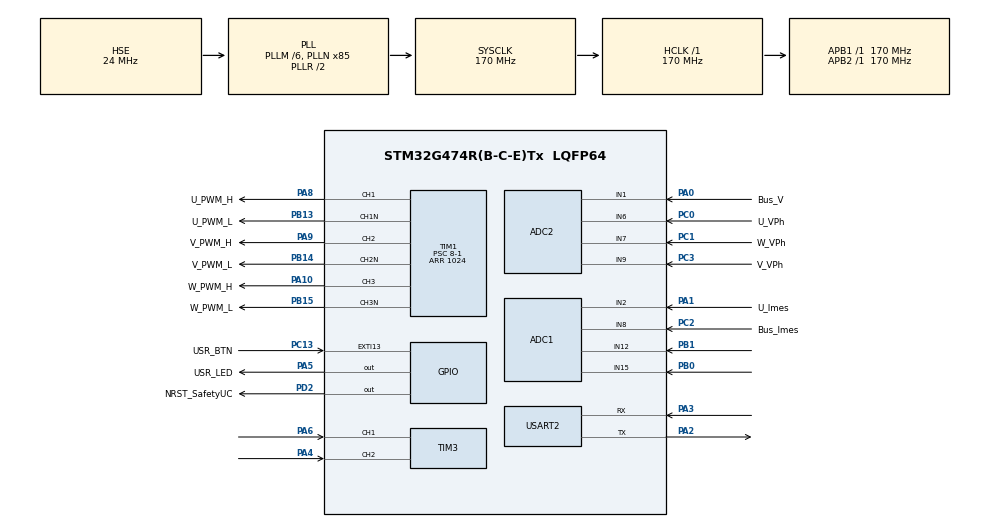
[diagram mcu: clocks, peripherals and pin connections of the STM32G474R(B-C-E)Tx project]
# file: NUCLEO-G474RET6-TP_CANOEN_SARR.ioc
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ADC1.Channel-0\#ChannelRegularConversion=ADC_CHANNEL_2
ADC1.DMAContinuousRequests=ENABLE
ADC1.ExternalTrigConv=ADC_EXTERNALTRIG_T1_TRGO
ADC1.NbrOfConversionFlag=1
ADC1.OffsetNumber-0\#ChannelRegularConversion=ADC_OFFSET_NONE
ADC1.Rank-0\#ChannelRegularConversion=1
ADC1.SamplingTime-0\#ChannelRegularConversion=ADC_SAMPLETIME_92CYCLES_5
ADC1.master=1
ADC2.Channel-0\#ChannelRegularConversion=ADC_CHANNEL_6
ADC2.NbrOfConversionFlag=1
ADC2.OffsetNumber-0\#ChannelRegularConversion=ADC_OFFSET_NONE
ADC2.Rank-0\#ChannelRegularConversion=1
ADC2.SamplingTime-0\#ChannelRegularConversion=ADC_SAMPLETIME_2CYCLES_5
Dma.ADC1.0.Direction=DMA_PERIPH_TO_MEMORY
Dma.ADC1.0.EventEnable=DISABLE
Dma.ADC1.0.Instance=DMA1_Channel2
Dma.ADC1.0.MemDataAlignment=DMA_MDATAALIGN_HALFWORD
Dma.ADC1.0.MemInc=DMA_MINC_ENABLE
Dma.ADC1.0.Mode=DMA_CIRCULAR
Dma.ADC1.0.PeriphDataAlignment=DMA_PDATAALIGN_HALFWORD
Dma.ADC1.0.PeriphInc=DMA_PINC_DISABLE
Dma.ADC1.0.Polarity=HAL_DMAMUX_REQ_GEN_RISING
Dma.ADC1.0.Priority=DMA_PRIORITY_LOW
Dma.ADC1.0.RequestNumber=1
Dma.ADC1.0.SignalID=NONE
Dma.ADC1.0.SyncEnable=DISABLE
Dma.ADC1.0.SyncPolarity=HAL_DMAMUX_SYNC_NO_EVENT
Dma.ADC1.0.SyncRequestNumber=1
Dma.ADC1.0.SyncSignalID=NONE
Dma.Request0=ADC1
Mcu.Family=STM32G4
Mcu.Name=STM32G474R(B-C-E)Tx
Mcu.Package=LQFP64
NVIC.DMA1_Channel2_IRQn=true\:0\:0\:false\:false\:true\:false\:true\:true
NVIC.EXTI15_10_IRQn=true\:0\:0\:false\:false\:true\:true\:true\:true
NVIC.PriorityGroup=NVIC_PRIORITYGROUP_4
NVIC.TIM6_DAC_IRQn=true\:15\:0\:false\:false\:true\:false\:true\:true
NVIC.TimeBase=TIM6_DAC_IRQn
NVIC.TimeBaseIP=TIM6
NVIC.USART2_IRQn=true\:0\:0\:false\:false\:true\:true\:true\:true
PA0.GPIO_Label=Bus_V
PA0.Mode=IN1-Single-Ended
PA0.Signal=ADC2_IN1
PA1.GPIO_Label=U_Imes
PA1.Mode=IN2-Single-Ended
PA1.Signal=ADC1_IN2
PA10.GPIO_Label=W_PWM_H
PA10.Signal=S_TIM1_CH3
PA13.GPIO_Label=T_SWDIO
PA13.Mode=Trace_Asynchronous_SW
PA13.Signal=SYS_JTMS-SWDIO
PA14.GPIO_Label=T_SWCLK
PA14.Mode=Trace_Asynchronous_SW
PA14.Signal=SYS_JTCK-SWCLK
PA2.Mode=Asynchronous
PA2.Signal=USART2_TX
PA3.Mode=Asynchronous
PA3.Signal=USART2_RX
PA4.Signal=S_TIM3_CH2
PA5.GPIO_Label=USR_LED
PA5.Signal=GPIO_Output
PA6.Signal=S_TIM3_CH1
PA8.GPIO_Label=U_PWM_H
PA8.Signal=S_TIM1_CH1
PA9.GPIO_Label=V_PWM_H
PA9.Signal=S_TIM1_CH2
PB0.Mode=IN15-Single-Ended
PB0.Signal=ADC1_IN15
PB1.Mode=IN12-Single-Ended
PB1.Signal=ADC1_IN12
PB13.GPIO_Label=U_PWM_L
PB13.Mode=PWM Generation1 CH1 CH1N
PB13.Signal=TIM1_CH1N
PB14.GPIO_Label=V_PWM_L
PB14.Mode=PWM Generation2 CH2 CH2N
PB14.Signal=TIM1_CH2N
PB15.GPIO_Label=W_PWM_L
PB15.Mode=PWM Generation3 CH3 CH3N
PB15.Signal=TIM1_CH3N
PB3.GPIO_Label=T_SWO
PB3.Mode=Trace_Asynchronous_SW
PB3.Signal=SYS_JTDO-SWO
PC0.GPIO_Label=U_VPh
PC0.Mode=IN6-Single-Ended
PC0.Signal=ADC2_IN6
PC1.GPIO_Label=W_VPh
PC1.Mode=IN7-Single-Ended
PC1.Signal=ADC2_IN7
PC10.Signal=USART3_TX
PC11.Signal=USART3_RX
PC13.GPIO_Label=USR_BTN
PC13.Signal=GPXTI13
PC14-OSC32_IN.Mode=LSE-External-Oscillator
PC14-OSC32_IN.Signal=RCC_OSC32_IN
PC15-OSC32_OUT.Mode=LSE-External-Oscillator
PC15-OSC32_OUT.Signal=RCC_OSC32_OUT
PC2.GPIO_Label=Bus_Imes
PC2.Mode=IN8-Single-Ended
PC2.Signal=ADC1_IN8
PC3.GPIO_Label=V_VPh
PC3.Mode=IN9-Single-Ended
PC3.Signal=ADC2_IN9
PC8.Signal=S_TIM3_CH3
PD2.GPIO_Label=NRST_SafetyUC
PD2.Signal=GPIO_Output
PF0-OSC_IN.Mode=HSE-External-Oscillator
PF0-OSC_IN.Signal=RCC_OSC_IN
PF1-OSC_OUT.Mode=HSE-External-Oscillator
PF1-OSC_OUT.Signal=RCC_OSC_OUT
ProjectManager.HeapSize=0x200
ProjectManager.StackSize=0x400
ProjectManager.TargetToolchain=STM32CubeIDE
RCC.ADC12Freq_Value=170000000
RCC.ADC345Freq_Value=170000000
RCC.AHBFreq_Value=170000000
RCC.APB1Freq_Value=170000000
RCC.APB1TimFreq_Value=170000000
RCC.APB2Freq_Value=170000000
RCC.APB2TimFreq_Value=170000000
RCC.CortexFreq_Value=170000000
RCC.EXTERNAL_CLOCK_VALUE=12288000
RCC.HCLKFreq_Value=170000000
RCC.HSE_VALUE=24000000
RCC.HSI48_VALUE=48000000
RCC.HSI_VALUE=16000000
RCC.PLLM=RCC_PLLM_DIV6
RCC.PLLN=85
RCC.PLLSourceVirtual=RCC_PLLSOURCE_HSE
RCC.RTCClockSelection=RCC_RTCCLKSOURCE_LSE
RCC.SYSCLKFreq_VALUE=170000000
RCC.SYSCLKSource=RCC_SYSCLKSOURCE_PLLCLK
RCC.USBFreq_Value=170000000
RCC.VCOOutputFreq_Value=340000000
SH.S_TIM1_CH1.0=TIM1_CH1,PWM Generation1 CH1 CH1N
SH.S_TIM1_CH2.0=TIM1_CH2,PWM Generation2 CH2 CH2N
SH.S_TIM1_CH3.0=TIM1_CH3,PWM Generation3 CH3 CH3N
SH.S_TIM3_CH1.0=TIM3_CH1,Encoder_Interface
SH.S_TIM3_CH2.0=TIM3_CH2,Encoder_Interface
SH.S_TIM3_CH3.0=TIM3_CH3
TIM1.AutoReloadPreload=TIM_AUTORELOAD_PRELOAD_ENABLE
TIM1.Channel-PWM\ Generation1\ CH1\ CH1N=TIM_CHANNEL_1
TIM1.Channel-PWM\ Generation2\ CH2\ CH2N=TIM_CHANNEL_2
TIM1.Channel-PWM\ Generation3\ CH3\ CH3N=TIM_CHANNEL_3
TIM1.CounterMode=TIM_COUNTERMODE_CENTERALIGNED1
TIM1.DeadTime=35
TIM1.DeadTimePreload=ENABLE
TIM1.PeriodNoDither=1024
TIM1.Prescaler=8-1
TIM1.PulseNoDither_1=512
TIM1.PulseNoDither_2=512
TIM1.TIM_MasterOutputTrigger=TIM_TRGO_UPDATE
USART2.VirtualMode-Asynchronous=VM_ASYNC
VP_SYS_VS_DBSignals.Mode=DisableDeadBatterySignals
VP_SYS_VS_tim6.Mode=TIM6
VP_TIM1_VS_ClockSourceINT.Mode=Internal
board=NUCLEO-G474RE

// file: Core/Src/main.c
/* USER CODE BEGIN Header */
/**
 ******************************************************************************
 * @file           : main.c
 * @brief          : Main program body
 ******************************************************************************
 * @attention
 *
 * Copyright (c) 2024 STMicroelectronics.
 * All rights reserved.
 *
 * This software is licensed under terms that can be found in the LICENSE file
 * in the root directory of this software component.
 * If no LICENSE file comes with this software, it is provided AS-IS.
 *
 ******************************************************************************
 */
/* USER CODE END Header */
#include "main.h"
#include "adc.h"
#include "dma.h"
#include "tim.h"
#include "usart.h"
#include "gpio.h"

/* USER CODE BEGIN PD */
#define UART_TX_BUFFER_SIZE 64
#define UART_RX_BUFFER_SIZE 1
#define CMD_BUFFER_SIZE 64
#define MAX_ARGS 9
#define ASCII_ENTER 0x0D
#define MAX_SPEED 1024  // Valeur maximale de la vitesse
#define ADC_BUF_SIZE 8
#define PULSES_PER_REVOLUTION 1000
#define SAMPLE_PERIOD 0.01
/* USER CODE END PD */

/* USER CODE BEGIN PV */

static const uint8_t prompt[]="user@Nucleo-STM32G474>>";
static const uint8_t started[]=
		"\r\n*-----------------------------*"
		"\r\n| Welcome on MCC SHELL |"
		"\r\n*-----------------------------*"
		"\r\n";
//static const uint8_t newline[]="\r\n";
//static const uint8_t cmdNotFound[]="Command not found\r\n";
//static const uint8_t help[] = "Available commands: help, pinout, start, stop, speed\r\n";
//static const uint8_t pinout[] = "Pins used: PA0, PA1, PB3\r\n";
//static const uint8_t powerOn[] = "Power ON\r\n";
//static const uint8_t powerOff[] = "Power OFF\r\n";
//static const uint8_t speed_msg[] = "Speed : \r\n";
//static const uint8_t ADC_msg[] = "Current_value : \r\n";
static uint32_t uartRxReceived;
static uint8_t uartRxBuffer[UART_RX_BUFFER_SIZE];
static uint8_t uartTxBuffer[UART_TX_BUFFER_SIZE];
uint16_t ADC_buffer[ADC_BUF_SIZE];
//char Etat;
char Speed_buf[5];

//uint8_t former_speed = 0;
/* USER CODE END PV */

void SystemClock_Config(void);

int main(void)
{

	/* USER CODE BEGIN 1 */
	char cmdBuffer[CMD_BUFFER_SIZE];
	int idx_cmd;
	char* argv[MAX_ARGS];
	int argc = 0;
	int32_t ch_MCC = 0;
	/* USER CODE END 1 */

	/* MCU Configuration--------------------------------------------------------*/

	/* Reset of all peripherals, Initializes the Flash interface and the Systick. */
	HAL_Init();

	/* Configure the system clock */
	SystemClock_Config();

	/* Initialize all configured peripherals */
	MX_GPIO_Init();
	MX_DMA_Init();
	MX_ADC2_Init();
	MX_ADC1_Init();
	MX_TIM1_Init();
	MX_TIM3_Init();
	MX_USART2_UART_Init();
	/* USER CODE BEGIN 2 */
	//HAL_ADCEx_Calibration_Start(&hadc1, ADC_SINGLE_ENDED);
	//HAL_ADC_PollForConversion(&hadc1, HAL_MAX_DELAY);
	HAL_ADC_Start_DMA(&hadc1, ADC_buffer, ADC_BUF_SIZE); /**< Démarrage de la conversion ADC en mode DMA. */
	HAL_TIM_Base_Start(&htim1); /**< Activation du Timer 1. */

	memset(argv,NULL,MAX_ARGS*sizeof(char*));
	memset(cmdBuffer,NULL,CMD_BUFFER_SIZE*sizeof(char));
	memset(uartRxBuffer,NULL,UART_RX_BUFFER_SIZE*sizeof(char));
	memset(uartTxBuffer,NULL,UART_TX_BUFFER_SIZE*sizeof(char));

	HAL_UART_Receive_IT(&huart2, uartRxBuffer, UART_RX_BUFFER_SIZE);
	HAL_Delay(10);
	HAL_UART_Transmit(&huart2, started, sizeof(started), HAL_MAX_DELAY);
	HAL_UART_Transmit(&huart2, prompt, sizeof(prompt), HAL_MAX_DELAY);

	/* USER CODE END 2 */

	/* Infinite loop */
	/* USER CODE BEGIN WHILE */
	while (1)
	{
		shell(); /**< Gestion des commandes utilisateur via le shell MCC. */
		/* USER CODE END WHILE */

	}
}

void SystemClock_Config(void)
{
	RCC_OscInitTypeDef RCC_OscInitStruct = {0};
	RCC_ClkInitTypeDef RCC_ClkInitStruct = {0};

	/** Configure the main internal regulator output voltage
	 */
	HAL_PWREx_ControlVoltageScaling(PWR_REGULATOR_VOLTAGE_SCALE1_BOOST);

	/** Initializes the RCC Oscillators according to the specified parameters
	 * in the RCC_OscInitTypeDef structure.
	 */
	RCC_OscInitStruct.OscillatorType = RCC_OSCILLATORTYPE_HSE;
	RCC_OscInitStruct.HSEState = RCC_HSE_ON;
	RCC_OscInitStruct.PLL.PLLState = RCC_PLL_ON;
	RCC_OscInitStruct.PLL.PLLSource = RCC_PLLSOURCE_HSE;
	RCC_OscInitStruct.PLL.PLLM = RCC_PLLM_DIV6;
	RCC_OscInitStruct.PLL.PLLN = 85;
	RCC_OscInitStruct.PLL.PLLP = RCC_PLLP_DIV2;
	RCC_OscInitStruct.PLL.PLLQ = RCC_PLLQ_DIV2;
	RCC_OscInitStruct.PLL.PLLR = RCC_PLLR_DIV2;
	if (HAL_RCC_OscConfig(&RCC_OscInitStruct) != HAL_OK)
	{
		Error_Handler();
	}

	/** Initializes the CPU, AHB and APB buses clocks
	 */
	RCC_ClkInitStruct.ClockType = RCC_CLOCKTYPE_HCLK|RCC_CLOCKTYPE_SYSCLK
			|RCC_CLOCKTYPE_PCLK1|RCC_CLOCKTYPE_PCLK2;
	RCC_ClkInitStruct.SYSCLKSource = RCC_SYSCLKSOURCE_PLLCLK;
	RCC_ClkInitStruct.AHBCLKDivider = RCC_SYSCLK_DIV1;
	RCC_ClkInitStruct.APB1CLKDivider = RCC_HCLK_DIV1;
	RCC_ClkInitStruct.APB2CLKDivider = RCC_HCLK_DIV1;

	if (HAL_RCC_ClockConfig(&RCC_ClkInitStruct, FLASH_LATENCY_4) != HAL_OK)
	{
		Error_Handler();
	}
}

void HAL_TIM_PeriodElapsedCallback(TIM_HandleTypeDef *htim)
{
	if (htim->Instance == TIM6) {
		HAL_IncTick();
	}
}

void Error_Handler(void)
{
	__disable_irq();
	while (1)
	{
	}
}
